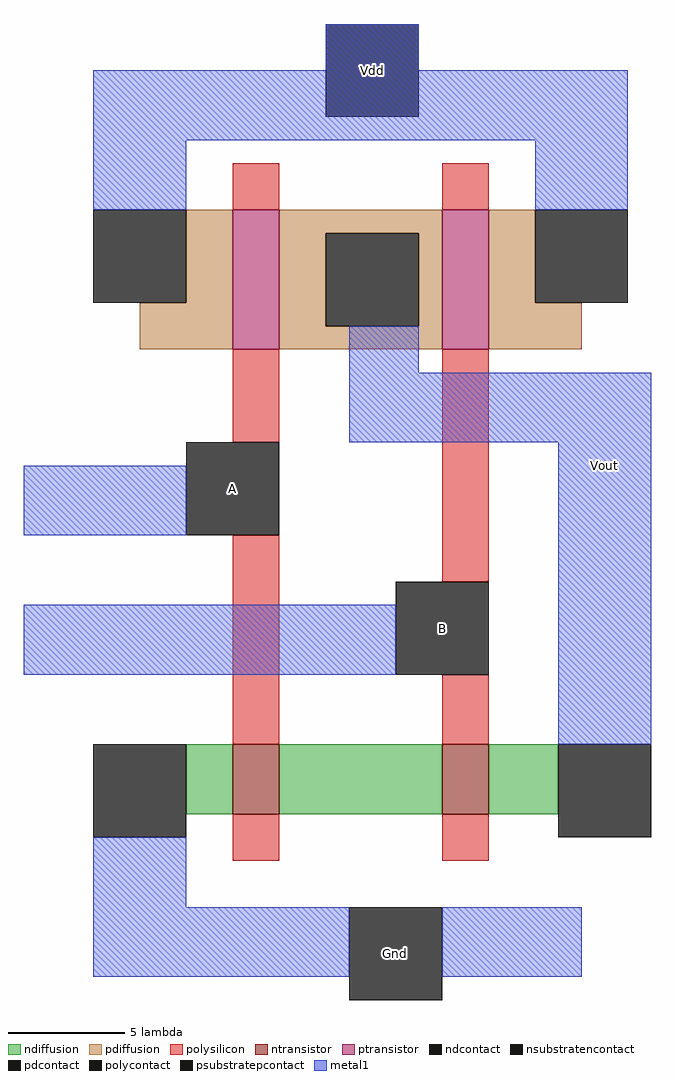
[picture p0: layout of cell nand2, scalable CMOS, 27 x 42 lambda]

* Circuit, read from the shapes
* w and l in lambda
.subckt nand2 A B Gnd Vdd Vout
M1 n1 A Gnd Gnd nfet w=3 l=2
M2 Vout B n1 Gnd nfet w=3 l=2
M3 Vout A Vdd Vdd pfet w=6 l=2
M4 Vdd B Vout Vdd pfet w=6 l=2
.ends

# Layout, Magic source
magic
tech scmos
<< polysilicon >>
rect 5 22 7 24
rect 14 22 16 24
rect 5 12 7 16
rect 5 -1 7 8
rect 14 6 16 16
rect 14 -1 16 2
rect 5 -6 7 -4
rect 14 -6 16 -4
<< ndiffusion >>
rect 3 -4 5 -1
rect 7 -4 14 -1
rect 16 -4 19 -1
<< pdiffusion >>
rect 3 18 5 22
rect 1 16 5 18
rect 7 21 14 22
rect 7 17 9 21
rect 13 17 14 21
rect 7 16 14 17
rect 16 18 18 22
rect 16 16 20 18
<< metal1 >>
rect 9 28 13 30
rect -1 25 22 28
rect -1 22 3 25
rect 18 22 22 25
rect 10 15 13 17
rect 10 12 23 15
rect -4 8 3 11
rect -4 2 12 5
rect 19 -1 23 12
rect -1 -8 3 -5
rect -1 -11 10 -8
rect 14 -11 20 -8
<< ntransistor >>
rect 5 -4 7 -1
rect 14 -4 16 -1
<< ptransistor >>
rect 5 16 7 22
rect 14 16 16 22
<< polycontact >>
rect 3 8 7 12
rect 12 2 16 6
<< ndcontact >>
rect -1 -5 3 -1
rect 19 -5 23 -1
<< pdcontact >>
rect -1 18 3 22
rect 9 17 13 21
rect 18 18 22 22
<< psubstratepcontact >>
rect 10 -12 14 -8
<< nsubstratencontact >>
rect 9 26 13 30
<< labels >>
rlabel polycontact 3 8 7 12 1 A
rlabel polycontact 12 2 16 6 1 B
rlabel metal1 9 26 13 30 5 Vdd
rlabel psubstratepcontact 10 -12 14 -8 1 Gnd
rlabel metal1 19 9 23 13 7 Vout
<< end >>
